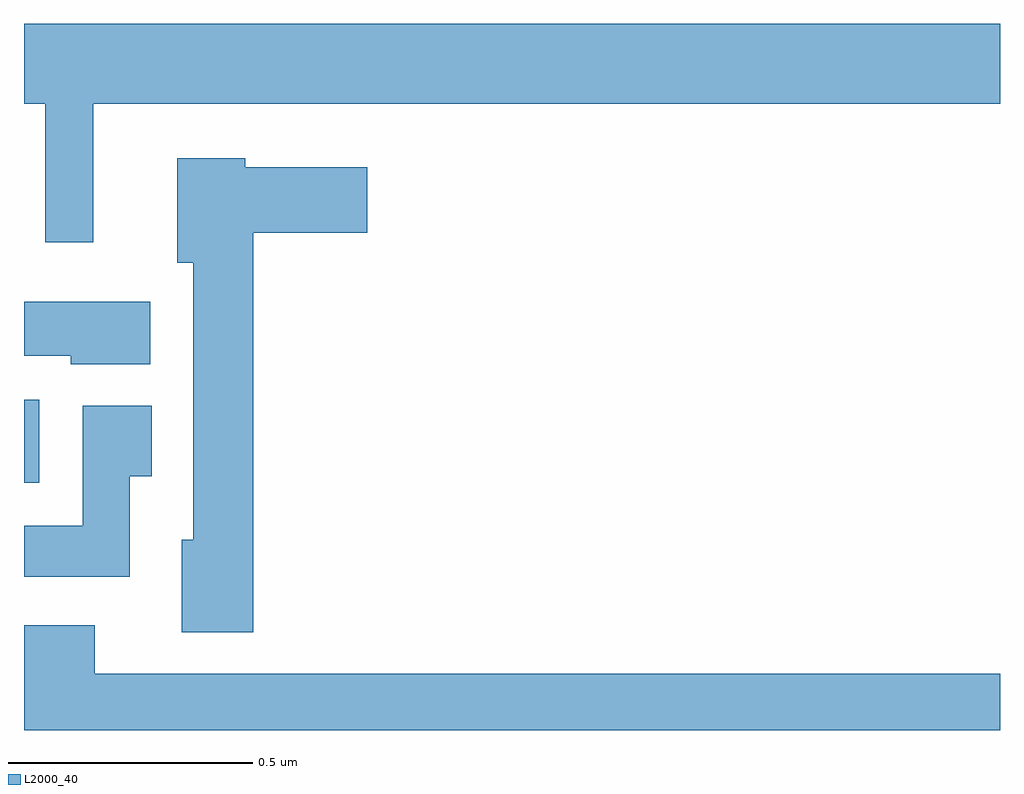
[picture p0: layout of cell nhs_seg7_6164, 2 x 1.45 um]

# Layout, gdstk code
import gdstk
lib = gdstk.Library(unit=1e-6, precision=1e-09)
def R(c, l, rs):  # rectangles x0, y0, x1, y1
    for r in rs: c.add(gdstk.rectangle(r[:2], r[2:], *l))
def P(c, l, *ps):  # polygons
    for p in ps: c.add(gdstk.Polygon(p, *l))
L2000_40 = (2000, 40)

nhs_seg7_6164 = lib.new_cell('nhs_seg7_6164')
R(nhs_seg7_6164, L2000_40, [(195,998.507,195.031,998.677)])
P(nhs_seg7_6164, L2000_40, [(195.142,999.284),(197,999.284),(197,999.448),(195,999.448),(195,999.284),(195.044,999.284),(195.044,999),(195.142,999)],
  [(195.47,999.02),(195.703,999.02),(195.703,999.154),(195.453,999.154),(195.453,999.172),(195.314,999.172),(195.314,998.958),(195.347,998.958),(195.347,998.391),(195.323,998.391),(195.323,998.201),(195.47,998.201)],
  [(195.259,998.878),(195,998.878),(195,998.768),(195.096,998.768),(195.096,998.75),(195.259,998.75)],
  [(195.217,998.521),(195.262,998.521),(195.262,998.665),(195.12,998.665),(195.12,998.419),(195,998.419),(195,998.315),(195.217,998.315)],
  [(197,998.116),(195.145,998.116),(195.145,998.215),(195,998.215),(195,998),(197,998)])

lib.write_gds('nhs_seg7_6164.gds')
